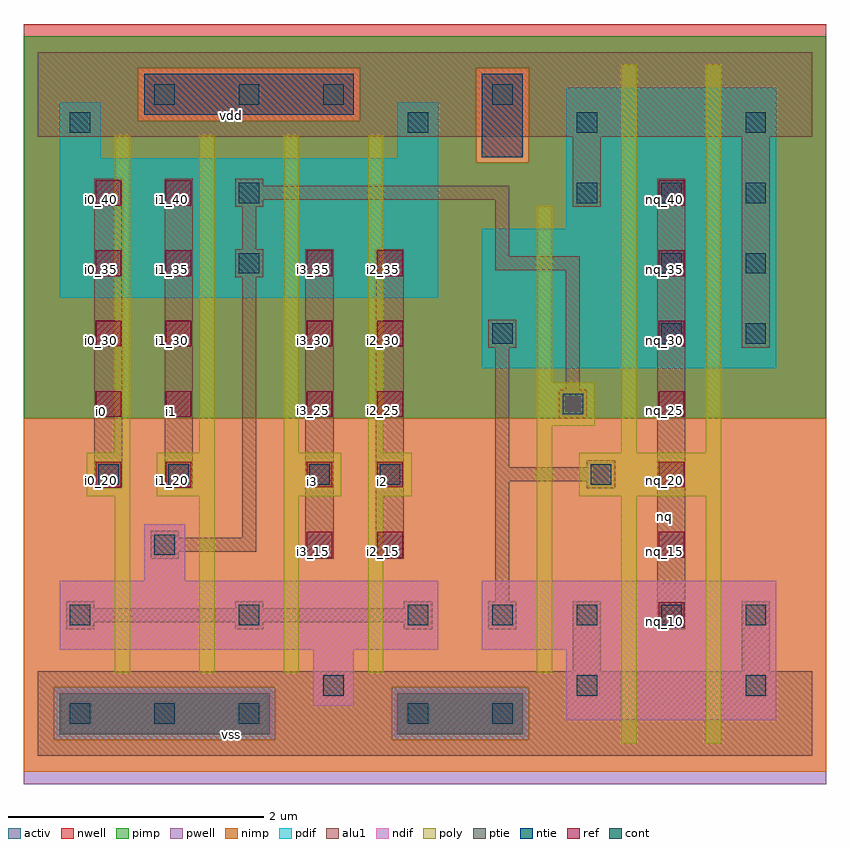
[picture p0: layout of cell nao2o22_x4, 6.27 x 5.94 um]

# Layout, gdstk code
import gdstk
lib = gdstk.Library(unit=1e-6, precision=2.5e-09)
def R(c, l, rs):  # rectangles x0, y0, x1, y1
    for r in rs: c.add(gdstk.rectangle(r[:2], r[2:], *l))
def A(c, l, x, y, w, h, nx, ny, dx, dy):  # array of equal rectangles
    R(c, l, [(x+i*dx, y+j*dy, x+i*dx+w, y+j*dy+h) for i in range(nx) for j in range(ny)])
ndif = (3, 0)
pdif = (4, 0)
ntie = (5, 0)
ptie = (6, 0)
ref = (24, 0)
cont = (25, 0)
pwell = (41, 0)
nwell = (42, 0)
activ = (43, 0)
pimp = (44, 0)
nimp = (45, 0)
poly = (46, 0)
alu1 = (49, 0)

nao2o22_x4 = lib.new_cell('nao2o22_x4')
R(nao2o22_x4, ndif, [(4.13,0.28,5.77,0.83), (4.13,0.28,5.77,0.83), (2.15,0.39,2.47,0.83), (2.15,0.39,2.47,0.83), (0.17,0.83,3.13,1.37), (0.17,0.83,3.13,1.37), (3.47,0.83,5.77,1.37), (3.47,0.83,5.77,1.37), (0.83,1.37,1.15,1.81), (0.83,1.37,1.15,1.81)])
R(nao2o22_x4, pdif, [(3.47,3.03,5.77,4.12), (3.47,3.03,5.77,4.12), (0.17,3.58,3.13,4.67), (0.17,3.58,3.13,4.67), (4.13,4.12,5.77,5.22), (4.13,4.12,5.77,5.22), (0.17,4.67,0.49,5.11), (0.17,4.67,0.49,5.11), (2.81,4.67,3.13,5.11), (2.81,4.67,3.13,5.11)])
R(nao2o22_x4, ntie, [(3.47,4.68,3.79,5.33), (3.47,4.68,3.79,5.33), (0.83,5.01,2.47,5.33), (0.83,5.01,2.47,5.33)])
R(nao2o22_x4, ptie, [(0.17,0.17,1.81,0.49), (0.17,0.17,1.81,0.49), (2.81,0.17,3.79,0.49), (2.81,0.17,3.79,0.49)])
A(nao2o22_x4, ref, 4.85, 1, 0.2, 0.2, 1, 7, 0, 0.55)
A(nao2o22_x4, ref, 2.1, 1.55, 0.2, 0.2, 1, 5, 0, 0.55)
A(nao2o22_x4, ref, 2.65, 1.55, 0.2, 0.2, 1, 5, 0, 0.55)
A(nao2o22_x4, ref, 0.45, 2.1, 0.2, 0.2, 1, 5, 0, 0.55)
A(nao2o22_x4, ref, 1, 2.1, 0.2, 0.2, 1, 5, 0, 0.55)
A(nao2o22_x4, cont, 0.25, 0.25, 0.16, 0.16, 3, 1, 0.66, 0)
A(nao2o22_x4, cont, 0.25, 1.02, 0.16, 0.16, 3, 1, 1.32, 0)
A(nao2o22_x4, cont, 3.55, 1.02, 0.16, 0.16, 4, 1, 0.66, 0)
A(nao2o22_x4, cont, 4.21, 4.32, 0.16, 0.16, 3, 1, 0.66, 0)
A(nao2o22_x4, cont, 2.89, 4.87, 0.16, 0.16, 3, 1, 1.32, 0)
A(nao2o22_x4, cont, 0.91, 5.09, 0.16, 0.16, 3, 1, 0.66, 0)
R(nao2o22_x4, cont, [(2.89,0.25,3.05,0.41), (3.55,0.25,3.71,0.41), (2.23,0.47,2.39,0.63), (4.21,0.47,4.37,0.63), (5.53,0.47,5.69,0.63), (0.91,1.57,1.07,1.73), (0.47,2.12,0.63,2.28), (1.02,2.12,1.18,2.28), (2.12,2.12,2.28,2.28), (2.67,2.12,2.83,2.28), (4.32,2.12,4.48,2.28), (4.1,2.67,4.26,2.83), (3.55,3.22,3.71,3.38), (4.87,3.22,5.03,3.38), (5.53,3.22,5.69,3.38), (1.57,3.77,1.73,3.93), (4.87,3.77,5.03,3.93), (5.53,3.77,5.69,3.93), (1.57,4.32,1.73,4.48), (0.25,4.87,0.41,5.03), (3.55,5.09,3.71,5.25)])
R(nao2o22_x4, pwell, [(-0.11,-0.22,6.16,2.64)])
R(nao2o22_x4, nwell, [(-0.11,2.64,6.16,5.72)])
R(nao2o22_x4, activ, [(0.17,0.17,1.81,0.49), (0.17,0.17,1.81,0.49), (2.81,0.17,3.79,0.49), (2.81,0.17,3.79,0.49), (4.13,0.28,5.77,0.83), (4.13,0.28,5.77,0.83), (2.15,0.39,2.47,0.83), (2.15,0.39,2.47,0.83), (0.17,0.83,3.13,1.37), (0.17,0.83,3.13,1.37), (3.47,0.83,5.77,1.37), (3.47,0.83,5.77,1.37), (0.83,1.37,1.15,1.81), (0.83,1.37,1.15,1.81), (3.47,3.03,5.77,4.12), (3.47,3.03,5.77,4.12), (0.17,3.58,3.13,4.67), (0.17,3.58,3.13,4.67), (4.13,4.12,5.77,5.22), (4.13,4.12,5.77,5.22), (0.17,4.67,0.49,5.11), (0.17,4.67,0.49,5.11), (2.81,4.67,3.13,5.11), (2.81,4.67,3.13,5.11), (3.47,4.68,3.79,5.33), (3.47,4.68,3.79,5.33), (0.83,5.01,2.47,5.33), (0.83,5.01,2.47,5.33)])
R(nao2o22_x4, pimp, [(0.125,0.125,1.855,0.535), (2.765,0.125,3.835,0.535), (-0.11,2.64,6.16,4.635), (-0.11,4.635,3.425,4.965), (3.835,4.635,6.16,5.375), (-0.11,4.965,0.785,5.375), (2.515,4.965,3.425,5.375), (-0.11,5.375,6.16,5.625)])
R(nao2o22_x4, nimp, [(-0.11,-0.125,6.16,0.125), (-0.11,0.125,0.125,0.535), (1.855,0.125,2.765,0.535), (3.835,0.125,6.16,0.535), (-0.11,0.535,6.16,2.64), (3.425,4.635,3.835,5.375), (0.785,4.965,2.515,5.375)])
A(nao2o22_x4, poly, 0.6, 0.65, 0.12, 1.38, 4, 1, 0.66, 0)
A(nao2o22_x4, poly, 0.6, 2.37, 0.12, 2.48, 4, 1, 0.66, 0)
R(nao2o22_x4, poly, [(4.56,0.1,4.68,2.03), (5.22,0.1,5.34,2.03), (3.9,0.65,4.02,2.58), (0.38,2.03,0.72,2.37), (0.93,2.03,1.38,2.37), (1.92,2.03,2.37,2.37), (2.58,2.03,2.92,2.37), (4.23,2.03,5.34,2.37), (4.56,2.37,4.68,5.4), (5.22,2.37,5.34,5.4), (3.9,2.58,4.35,2.92), (3.9,2.92,4.02,4.3)])
A(nao2o22_x4, alu1, 0.22, 0.99, 0.22, 0.055, 3, 2, 1.32, 0.165)
R(nao2o22_x4, alu1, [(0,0,6.05,0.66), (4.18,0.66,4.4,1.21), (5.5,0.66,5.72,1.21), (3.52,0.99,3.74,1.21), (4.84,0.99,5.06,4.51), (0.22,1.045,3.08,1.155), (3.575,1.21,3.685,2.145), (0.88,1.54,1.1,1.595), (2.09,1.54,2.31,3.96), (2.64,1.54,2.86,3.96), (0.88,1.595,1.705,1.705), (0.88,1.705,1.1,1.76), (1.595,1.705,1.705,3.74), (0.44,2.09,0.66,4.51), (0.99,2.09,1.21,4.51), (4.29,2.09,4.51,2.145), (3.575,2.145,4.51,2.255), (3.575,2.255,3.685,3.19), (4.29,2.255,4.51,2.31), (4.07,2.64,4.29,2.86), (4.125,2.86,4.235,3.795), (3.52,3.19,3.74,3.41), (5.5,3.19,5.72,4.84), (1.54,3.74,1.76,3.96), (3.575,3.795,4.235,3.905), (3.575,3.905,3.685,4.345), (1.595,3.96,1.705,4.29), (1.54,4.29,1.76,4.345), (4.18,4.29,4.4,4.84), (1.54,4.345,3.685,4.455), (1.54,4.455,1.76,4.51), (0,4.84,6.05,5.5)])
nao2o22_x4.add(gdstk.Label('vss', (1.5125,0.165), layer=49, texttype=0))
nao2o22_x4.add(gdstk.Label('nq', (4.895,1.87), layer=49, texttype=0))
nao2o22_x4.add(gdstk.Label('i2', (2.695,2.145), layer=49, texttype=0))
nao2o22_x4.add(gdstk.Label('i3', (2.145,2.145), layer=49, texttype=0))
nao2o22_x4.add(gdstk.Label('i1', (1.045,2.695), layer=49, texttype=0))
nao2o22_x4.add(gdstk.Label('i0', (0.495,2.695), layer=49, texttype=0))
nao2o22_x4.add(gdstk.Label('vdd', (1.5125,5.005), layer=49, texttype=0))
nao2o22_x4.add(gdstk.Label('nq_25', (4.9,2.7), layer=24, texttype=0))
nao2o22_x4.add(gdstk.Label('nq_15', (4.9,1.6), layer=24, texttype=0))
nao2o22_x4.add(gdstk.Label('nq_10', (4.9,1.05), layer=24, texttype=0))
nao2o22_x4.add(gdstk.Label('nq_20', (4.9,2.15), layer=24, texttype=0))
nao2o22_x4.add(gdstk.Label('nq_30', (4.9,3.25), layer=24, texttype=0))
nao2o22_x4.add(gdstk.Label('nq_35', (4.9,3.8), layer=24, texttype=0))
nao2o22_x4.add(gdstk.Label('i0_20', (0.5,2.15), layer=24, texttype=0))
nao2o22_x4.add(gdstk.Label('i0_25', (0.5,2.7), layer=24, texttype=0))
nao2o22_x4.add(gdstk.Label('i0_30', (0.5,3.25), layer=24, texttype=0))
nao2o22_x4.add(gdstk.Label('i1_30', (1.05,3.25), layer=24, texttype=0))
nao2o22_x4.add(gdstk.Label('i1_25', (1.05,2.7), layer=24, texttype=0))
nao2o22_x4.add(gdstk.Label('i1_20', (1.05,2.15), layer=24, texttype=0))
nao2o22_x4.add(gdstk.Label('i3_15', (2.15,1.6), layer=24, texttype=0))
nao2o22_x4.add(gdstk.Label('i3_20', (2.15,2.15), layer=24, texttype=0))
nao2o22_x4.add(gdstk.Label('i3_25', (2.15,2.7), layer=24, texttype=0))
nao2o22_x4.add(gdstk.Label('i3_30', (2.15,3.25), layer=24, texttype=0))
nao2o22_x4.add(gdstk.Label('i2_30', (2.7,3.25), layer=24, texttype=0))
nao2o22_x4.add(gdstk.Label('i2_25', (2.7,2.7), layer=24, texttype=0))
nao2o22_x4.add(gdstk.Label('i2_20', (2.7,2.15), layer=24, texttype=0))
nao2o22_x4.add(gdstk.Label('i2_15', (2.7,1.6), layer=24, texttype=0))
nao2o22_x4.add(gdstk.Label('nq_40', (4.9,4.35), layer=24, texttype=0))
nao2o22_x4.add(gdstk.Label('i0_35', (0.5,3.8), layer=24, texttype=0))
nao2o22_x4.add(gdstk.Label('i0_40', (0.5,4.35), layer=24, texttype=0))
nao2o22_x4.add(gdstk.Label('i1_40', (1.05,4.35), layer=24, texttype=0))
nao2o22_x4.add(gdstk.Label('i1_35', (1.05,3.8), layer=24, texttype=0))
nao2o22_x4.add(gdstk.Label('i3_35', (2.15,3.8), layer=24, texttype=0))
nao2o22_x4.add(gdstk.Label('i2_35', (2.7,3.8), layer=24, texttype=0))

lib.write_gds('nao2o22_x4.gds')
